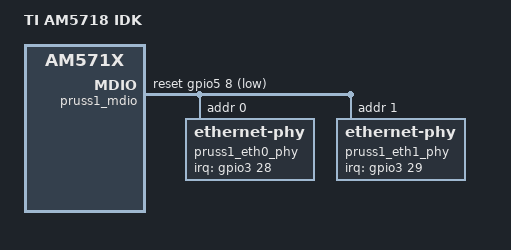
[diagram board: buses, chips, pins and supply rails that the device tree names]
/*
 * Copyright (C) 2015-2016 Texas Instruments Incorporated - http://www.ti.com/
 *
 * This program is free software; you can redistribute it and/or modify
 * it under the terms of the GNU General Public License version 2 as
 * published by the Free Software Foundation.
 */
/dts-v1/;

#include "am571x-idk-common.dtsi"

/ {
	model = "TI AM5718 IDK";

	aliases {
		ethernet4 = &pruss1_emac0;
		ethernet5 = &pruss1_emac1;
	};

	/* Dual mac ethernet application node on icss2 */
	pruss1_eth: pruss1_eth {
		status = "okay";
		compatible = "ti,am57-prueth";
		prus = <&pru1_0>, <&pru1_1>;
		firmware-name = "ti-pruss/am57xx-pru0-prueth-fw.elf",
				"ti-pruss/am57xx-pru1-prueth-fw.elf";
		ti,pruss-gp-mux-sel = <0>,	/* GP, default */
				      <4>;	/* MII2, needed for PRUSS1_MII1 */
		sram = <&ocmcram1>;
		interrupt-parent = <&pruss1_intc>;

		pruss1_emac0: ethernet-mii0 {
			phy-handle = <&pruss1_eth0_phy>;
			phy-mode = "mii";
			interrupts = <20>, <22>;
			interrupt-names = "rx", "tx";
			/* Filled in by bootloader */
			local-mac-address = [00 00 00 00 00 00];
		};

		pruss1_emac1: ethernet-mii1 {
			phy-handle = <&pruss1_eth1_phy>;
			phy-mode = "mii";
			interrupts = <21>, <23>;
			interrupt-names = "rx", "tx";
			/* Filled in by bootloader */
			local-mac-address = [00 00 00 00 00 00];
		};
	};
};

&pruss1_mdio {
	status = "okay";
	reset-gpios = <&gpio5 8 GPIO_ACTIVE_LOW>;
	reset-delay-us = <2>;   /* PHY datasheet states 1uS min */
	pruss1_eth0_phy: ethernet-phy@0 {
		reg = <0>;
		interrupt-parent = <&gpio3>;
		interrupts = <28 IRQ_TYPE_EDGE_FALLING>;
	};

	pruss1_eth1_phy: ethernet-phy@1 {
		reg = <1>;
		interrupt-parent = <&gpio3>;
		interrupts = <29 IRQ_TYPE_EDGE_FALLING>;
	};
};

&pruss2_eth {
	ti,pruss-gp-mux-sel = <4>,	/* MII2, needed for PRUSS1_MII0 */
			      <4>;	/* MII2, needed for PRUSS1_MII1 */
};
